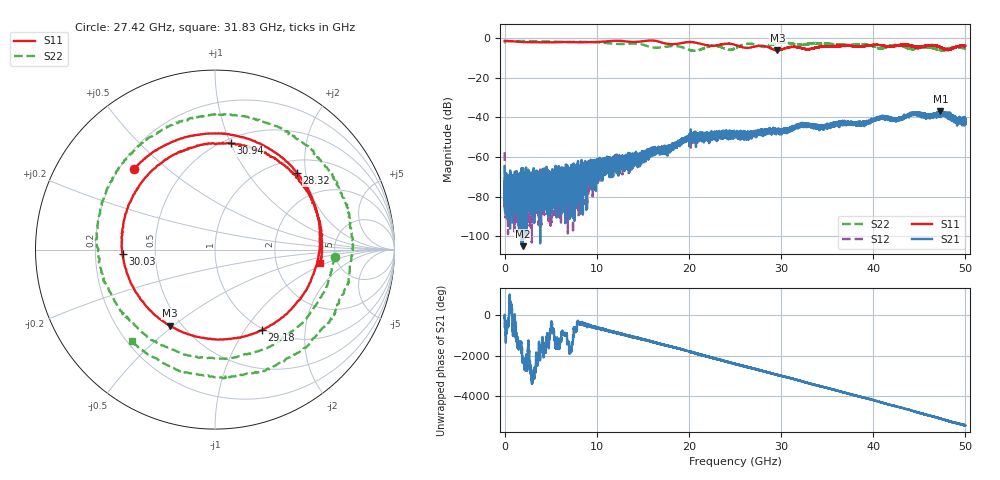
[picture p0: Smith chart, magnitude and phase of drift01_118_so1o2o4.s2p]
!Created with skrf (http://scikit-rf.org).
# Hz S RI R 50.0
!freq ReS11 ImS11 ReS21 ImS21 ReS12 ImS12 ReS22 ImS22
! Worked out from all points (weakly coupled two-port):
!   10001 points, 300 kHz to 50 GHz, reference 50 ohm
!   highest |S21| = -36.68 dB at 47.28 GHz (marker M1); lowest = -105.0 dB at 1.98 GHz (marker M2)
!   lowest |S11| = -6.2 dB at 29.61 GHz (marker M3), VSWR 2.94, Z = 21.7 - j24.2 ohm
!   |S11| at or under -10 dB: nowhere
!   |S22| runs from -6.4 to -1.4 dB; largest |S21 - S12| = 0.0038
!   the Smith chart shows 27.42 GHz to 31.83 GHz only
!   S11 on the Smith chart (normalised r, x): 27.42 GHz: 0.26, +0.39; 28.32 GHz: 1.28, +1.79; 29.18 GHz: 0.98, -1.20; 30.03 GHz: 0.32, -0.02; 30.94 GHz: 0.54, +1.00; 31.83 GHz: 3.67, -0.84
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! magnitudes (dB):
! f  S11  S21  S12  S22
! 300 kHz  -1.3  -64.9  -57.5  -2.0
! 255.3 MHz  -1.4  -76.2  -74.3  -1.4
! 1.98 GHz  -1.9  -105.0  -78.7  -1.4
! 3.935 GHz  -2.0  -71.4  -69.2  -1.5
! 4.415 GHz  -2.1  -70.8  -77.1  -1.5
! 6.425 GHz  -1.9  -77.8  -68.9  -1.9
! 8.335 GHz  -2.0  -74.5  -66.2  -1.8
! 16.67 GHz  -1.6  -55.3  -57.0  -4.8
! 20.41 GHz  -2.0  -49.9  -50.5  -6.3
! 22.62 GHz  -3.8  -49.0  -48.2  -3.8
! 25 GHz  -3.3  -47.9  -48.3  -5.0
! 27.42 GHz  -3.9  -48.8  -47.6  -3.5
! 28.32 GHz  -4.1  -47.4  -47.0  -4.3
! 29.18 GHz  -5.7  -46.4  -46.6  -3.0
! 29.61 GHz  -6.2  -46.8  -46.8  -2.5
! 30.03 GHz  -5.8  -47.7  -47.1  -2.3
! 30.94 GHz  -4.5  -46.4  -46.1  -2.5
! 31.83 GHz  -4.6  -45.6  -44.9  -3.2
! 33.34 GHz  -5.2  -43.7  -44.2  -2.7
! 41.67 GHz  -4.3  -40.6  -39.8  -4.0
! 47.28 GHz  -4.5  -36.7  -38.2  -5.8
! 50 GHz  -3.8  -43.2  -41.8  -5.3
